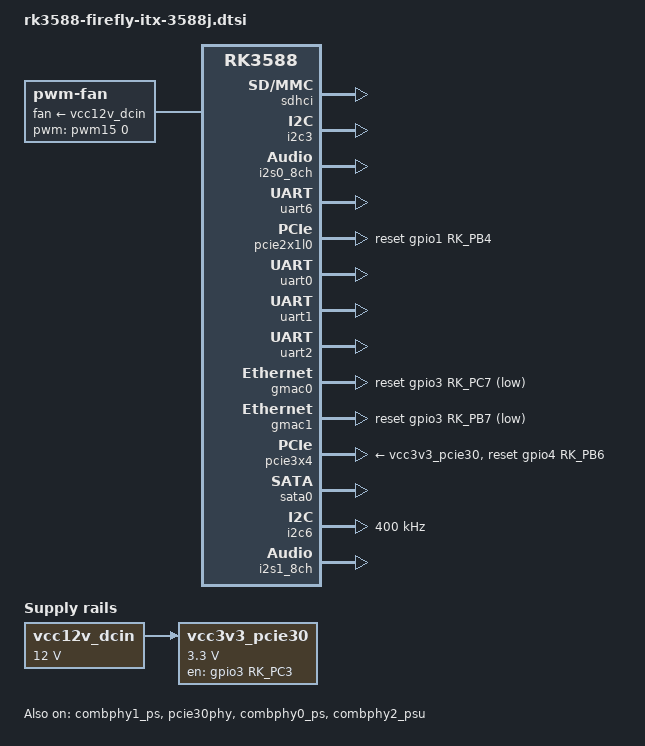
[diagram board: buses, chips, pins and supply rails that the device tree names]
// SPDX-License-Identifier: (GPL-2.0+ OR MIT)
/*
 * Copyright (c) 2021 Rockchip Electronics Co., Ltd.
 *
 */
 
#define rk3588
#include <dt-bindings/gpio/gpio.h>
#include <dt-bindings/input/input.h>
#include <dt-bindings/pinctrl/rockchip.h>
#include "rk3588.dtsi"

//include "rk3588-firefly-port.dtsi"
//include "rk3588-diff.dtsi"

 / {
	//ver v1.1 support
	fan: pwm-fan {
		compatible = "pwm-fan";
		#cooling-cells = <2>;
		fan-supply = <&vcc12v_dcin>;
		pwms = <&pwm15 0 50000 1>;
	};

	 vcc3v3_pcie30: vcc3v3-pcie30-regulator {
		 compatible = "regulator-fixed";
		 regulator-name = "vcc3v3_pcie30";
		 regulator-min-microvolt = <3300000>;
		 regulator-max-microvolt = <3300000>;
		 enable-active-high;
		 gpios = <&gpio3 RK_PC3 GPIO_ACTIVE_HIGH>;
		 startup-delay-us = <5000>;
		 vin-supply = <&vcc12v_dcin>;
		 pinctrl-names = "default";
		 pinctrl-0 = <&vcc3v3_pcie30_en>;
	 };

	 vcc12v_dcin: vcc12v-dcin-regulator {
		 compatible = "regulator-fixed";
		 regulator-name = "vcc12v_dcin";
		 regulator-always-on;
		 regulator-boot-on;
		 regulator-min-microvolt = <12000000>;
		 regulator-max-microvolt = <12000000>;
	 };

	 /*
	 dmc {
		 compatible = "rockchip,rk3588-dmc";
		 interrupts = <GIC_SPI 73 IRQ_TYPE_LEVEL_HIGH 0>;
		 interrupt-names = "complete";
		 devfreq-events = <&dfi>;
		 clocks = <&scmi_clk 4>;
		 clock-names = "dmc_clk";
		 operating-points-v2 = <&dmc_opp_table>;
		 upthreshold = <40>;
		 downdifferential = <20>;
		 system-status-level = <
									   // system status        freq level
									   SYS_STATUS_NORMAL       DMC_FREQ_LEVEL_MID_HIGH
									   SYS_STATUS_REBOOT       DMC_FREQ_LEVEL_HIGH
									   SYS_STATUS_SUSPEND      DMC_FREQ_LEVEL_LOW
									   SYS_STATUS_VIDEO_4K     DMC_FREQ_LEVEL_MID_HIGH
									   SYS_STATUS_VIDEO_4K_10B DMC_FREQ_LEVEL_MID_HIGH
									   SYS_STATUS_VIDEO_SVEP   DMC_FREQ_LEVEL_MID_HIGH
									   SYS_STATUS_BOOST        DMC_FREQ_LEVEL_HIGH
									   SYS_STATUS_ISP          DMC_FREQ_LEVEL_HIGH
									   SYS_STATUS_PERFORMANCE  DMC_FREQ_LEVEL_HIGH
									   SYS_STATUS_DUALVIEW     DMC_FREQ_LEVEL_HIGH
									   SYS_STATUS_HDMIRX       DMC_FREQ_LEVEL_HIGH
							   >;
		 auto-freq-en = <1>;
		 status = "okay";
	 };

	 dmc_opp_table: dmc-opp-table {
		 compatible = "operating-points-v2";

		 nvmem-cells = <&log_leakage>, <&dmc_opp_info>, <&specification_serial_number>;
		 nvmem-cell-names = "leakage", "opp-info", "specification_serial_number";
		 rockchip,supported-hw;

		 rockchip,leakage-voltage-sel = <
												1	31	0
												32	44	1
												45	57	2
												58	254	3
										>;
		 rockchip,temp-hysteresis = <5000>;
		 rockchip,low-temp = <10000>;
		 rockchip,low-temp-min-volt = <750000>;

		 // RK3588 dmc OPPs
		 opp-528000000 {
			 opp-supported-hw = <0xf9 0xffff>;
			 opp-hz = /bits/ 64 <528000000>;
			 opp-microvolt = <675000 675000 875000>,
							 <725000 725000 750000>;
			 opp-microvolt-L1 = <675000 675000 875000>,
								<700000 700000 750000>;
			 opp-microvolt-L2 = <675000 675000 875000>,
								<687500 687500 750000>;
			 opp-microvolt-L3 = <675000 675000 875000>,
								<675000 675000 750000>;
		 };
		 opp-1068000000 {
			 opp-supported-hw = <0xf9 0xffff>;
			 opp-hz = /bits/ 64 <1068000000>;
			 opp-microvolt = <725000 725000 875000>,
							 <737500 737500 750000>;
			 opp-microvolt-L1 = <700000 700000 875000>,
								<712500 712500 750000>;
			 opp-microvolt-L2 = <675000 675000 875000>,
								<700000 700000 750000>;
			 opp-microvolt-L3 = <675000 675000 875000>,
								<687500 687500 750000>;
		 };
		 opp-1560000000 {
			 opp-supported-hw = <0xf9 0xffff>;
			 opp-hz = /bits/ 64 <1560000000>;
			 opp-microvolt = <800000 800000 875000>,
							 <750000 750000 750000>;
			 opp-microvolt-L1 = <775000 775000 875000>,
								<725000 725000 750000>;
			 opp-microvolt-L2 = <750000 750000 875000>,
								<712500 712500 750000>;
			 opp-microvolt-L3 = <725000 725000 875000>,
								<700000 700000 750000>;
		 };
		 opp-2750000000 {
			 opp-supported-hw = <0xf9 0xffff>;
			 opp-hz = /bits/ 64 <2750000000>;
			 opp-microvolt = <875000 875000 875000>,
							 <750000 750000 750000>;
			 opp-microvolt-L1 = <850000 850000 875000>,
								<750000 750000 750000>;
			 opp-microvolt-L2 = <837500 837500 875000>,
								<725000 725000 750000>;
			 opp-microvolt-L3 = <825000 820000 875000>,
								<700000 700000 750000>;
		 };

		 //  RK3588J/M dmc OPPs 
		 opp-j-m-528000000 {
			 opp-supported-hw = <0x06 0xffff>;
			 opp-hz = /bits/ 64 <528000000>;
			 opp-microvolt = <750000 750000 875000>,
							 <750000 750000 750000>;
		 };
		 opp-j-m-1068000000 {
			 opp-supported-hw = <0x06 0xffff>;
			 opp-hz = /bits/ 64 <1068000000>;
			 opp-microvolt = <750000 750000 875000>,
							 <750000 750000 750000>;
		 };
		 opp-j-m-1560000000 {
			 opp-supported-hw = <0x06 0xffff>;
			 opp-hz = /bits/ 64 <1560000000>;
			 opp-microvolt = <800000 800000 875000>,
							 <750000 750000 750000>;
			 opp-microvolt-L1 = <775000 775000 875000>,
								<750000 750000 750000>;
			 opp-microvolt-L2 = <750000 750000 875000>,
								<750000 750000 750000>;
			 opp-microvolt-L3 = <750000 750000 875000>,
								<750000 750000 750000>;
		 };
		 opp-j-m-2750000000 {
			 opp-supported-hw = <0x06 0xffff>;
			 opp-hz = /bits/ 64 <2750000000>;
			 opp-microvolt = <875000 875000 875000>,
							 <750000 750000 750000>;
			 opp-microvolt-L1 = <850000 850000 875000>,
								<750000 750000 750000>;
			 opp-microvolt-L2 = <837500 837500 875000>,
								<750000 750000 750000>;
			 opp-microvolt-L3 = <825000 820000 875000>,
								<750000 750000 750000>;
		 };
	 };
	 */



 };

//&dmac0 {
//	status = "okay";
//};

//&otp {
//	dmc_opp_info: dmc-opp-info@5b {
//		reg = <0x5b 0x6>;
//	};
//};

//&gic {
//	status = "okay";
//};
//
//&pmu {
//	boot-phall;
//};

//&scmi_shmem {
//	boot-phall;
//};

//&scmi_clk {
//	assigned-clocks = <&scmi_clk SCMI_CLK_CPUL>,
//					  <&scmi_clk SCMI_CLK_CPUB01>,
//					  <&scmi_clk SCMI_CLK_CPUB23>;
//	assigned-clock-rates = <816000000>,
//						   <816000000>,
//						   <816000000>;
//};

//&adc_keys {
//	recovery-key {
//	        label = "F12";
//	        linux,code = <KEY_F12>;
//	        press-threshold-microvolt = <10000>;
//	};
//};

// Disallow DMA during SPL because DMA transfers into SRAM are impossible on RK3588
//&sfc {
//	bootph-pre-ram;
//	u-boot,spl-sfc-no-dma;
//	pinctrl-names = "default";
//	pinctrl-0 = <&fspim2_pins>;
//	status = "okay";
//
//	#address-cells = <1>;
//	#size-cells = <0>;
//
//	spi_nand: flash@0 {
//		bootph-pre-ram;
//		compatible = "spi-nand";
//		reg = <0>;
//		spi-tx-bus-width = <1>;
//		spi-rx-bus-width = <4>;
//		spi-max-frequency = <80000000>;
//	};
//
//};

//&gpio0 {
//	bootph-all;
//	status = "okay";
//};


// led
//&firefly_leds {
//	pinctrl-names = "default";
//	pinctrl-0 =<&leds_gpio>;
//};
//
//&power_led {
//	gpios = <&gpio1 RK_PB3 GPIO_ACTIVE_HIGH>;
//};
//
//&user_led {
//	gpios = <&pca9555 PCA_IO0_3 GPIO_ACTIVE_HIGH>;
//};

// FAN
//&vcc_fan_pwr_en {
//	status = "okay";
//	gpio = <&pca9555 PCA_IO1_3 GPIO_ACTIVE_HIGH>;  //PCA_IO 13
//};

//ver v1.1 support
//&pwm15 {
//	pinctrl-0 = <&pwm15m2_pins>;
//	status = "okay";
//};

// tf-card
&sdmmc {
	status = "disabled";
};

&sdhci {
	status = "okay";
	compatible = "rockchip,rk3588-dwcmshc", "rockchip,dwcmshc-sdhci";
	no-sd;
	no-sdio;
	clock-names;
	pinctrl-names;
	reset-names;
	/delete-node/ u-boot,spl-fifo-mode;
};

//&vcc_sdcard_pwr_en {
//	gpio = <&pca9555 PCA_IO1_5 GPIO_ACTIVE_HIGH>;  //PCA_IO 15
//	status = "okay";
//};
// can1
//&can1 {
//	status = "okay";
//	assigned-clocks = <&cru CLK_CAN1>;
//	assigned-clock-rates = <200000000>;
//	pinctrl-names = "default";
//	pinctrl-0 = <&can1m1_pins>;
//};

// es8323 audio codec
&i2c3 {
	status = "okay";
};
//&es8388_sound {
//	firefly,not-use-dapm;
//	status = "okay";
//};
//&es8388 {
//	status = "okay";
//};
&i2s0_8ch {
	status = "okay";
};

// hdmi rx
//&hdmiin_sound {
//	status = "okay";
//};

//&hdmirx_ctrler {
//	status = "okay";
//	hpd-trigger-level = <1>;
//	hdmirx-det-gpios = <&gpio1 RK_PD5 GPIO_ACTIVE_LOW>;
//};

// hdmi0
//&hdmi0 {
//	enable-gpios = <&gpio4 RK_PA0 GPIO_ACTIVE_HIGH>;
//	status = "okay";
//};

//&hdmi0_in_vp0 {
//	status = "okay";
//};

//&hdmi0_sound {
//	status = "okay";
//};

//&hdptxphy_hdmi0 {
//	status = "okay";
//};

//&route_hdmi0 {
//	status = "okay";
//};

// hdmi1
//&hdmi1 {
//	enable-gpios = <&gpio4 RK_PB2 GPIO_ACTIVE_HIGH>;
//	status = "okay";
//};

//&hdmi1_sound {
//	status = "okay";
//};

//&hdmi1_in_vp1 {
//        status = "okay";
//};

//&hdptxphy_hdmi1 {
//	status = "okay";
//};

//&route_hdmi1 {
//	status = "okay";
//	connect = <&vp1_out_hdmi1>;
//};

// display port0
//&spdif_tx2 {
//	status = "okay";
//};

//&dp0_sound {
//	status = "okay";
//};

//&dp0 {
//	status = "okay";
//};

//&dp0_in_vp2 {
//	status = "okay";
//};

// display port1 to vga
//&dp1_in_vp2 {
//	status = "okay";
//};
//
//&dp1 {
//	pinctrl-names = "default";
//	pinctrl-0 = <&dp1_hpd>;
//	hpd-gpios = <&gpio1 RK_PA4 GPIO_ACTIVE_HIGH>;
//	status = "okay";
//};
//&route_dp1 {
//	status = "disabled";
//	connect = <&vp2_out_dp1>;
//};

// ap6275 : bluetooth
//&wireless_bluetooth {
//	status = "okay";
//};
&uart6 {
	pinctrl-names = "default";
	pinctrl-0 = <&uart6m1_xfer &uart6m1_ctsn>;
	status = "okay";
};

// ap6275 : wifi
//&wireless_wlan {
//	wifi_chip_type = "ap6275p";
//	pinctrl-0 = <&wifi_poweren_gpio>;
//	/delete-property/ WIFI,host_wake_irq;
//	status = "okay";
//};
&combphy1_ps {
	status = "okay";
};

&pcie2x1l0 {
	reset-gpios = <&gpio1 RK_PB4 GPIO_ACTIVE_HIGH>;
	rockchip,skip-scan-in-resume;
	status = "okay";
};

// uart/232/485
&uart0 {
	pinctrl-0 = <&uart0m2_xfer>;
	status = "okay";
};

&uart1 {
	pinctrl-0 = <&uart1m1_xfer>;
	status = "okay";
};

&uart2 {
	pinctrl-0 = <&uart2m0_xfer>;
	status = "okay";
};

// gamc0
&gmac0 {
	snps,reset-gpio = <&gpio3 RK_PC7 GPIO_ACTIVE_LOW>;
	tx_delay = <0x45>;
	status = "okay";
};
&gmac0_tx_bus2 {
    rockchip,pins =
    // gmac0_txd0
    <2 RK_PB6 1 &pcfg_pull_up_drv_level_6>,
    // gmac0_txd1
    <2 RK_PB7 1 &pcfg_pull_up_drv_level_6>,
    // gmac0_txen
    <2 RK_PC0 1 &pcfg_pull_none>;
};
&gmac0_rgmii_bus {
	rockchip,pins =
	// gmac0_rxd2
	<2 RK_PA6 1 &pcfg_pull_none>,
	// gmac0_rxd3
	<2 RK_PA7 1 &pcfg_pull_none>,
	// gmac0_txd2
	<2 RK_PB1 1 &pcfg_pull_up_drv_level_6>,
	// gmac0_txd3
	<2 RK_PB2 1 &pcfg_pull_up_drv_level_6>;
};
// gmac1
&gmac1 {
	snps,reset-gpio = <&gpio3 RK_PB7 GPIO_ACTIVE_LOW>;
	tx_delay = <0x42>;
	status = "okay";
};
&gmac1_tx_bus2 {
	rockchip,pins =
	// gmac1_txd0
	<3 RK_PB3 1 &pcfg_pull_up_drv_level_6>,
    // gmac1_txd1
	<3 RK_PB4 1 &pcfg_pull_up_drv_level_6>,
	// gmac1_txen
	<3 RK_PB5 1 &pcfg_pull_none>;
};
&gmac1_rgmii_bus {
	rockchip,pins =
	// gmac1_rxd2
	<3 RK_PA2 1 &pcfg_pull_none>,
	// gmac1_rxd3
	<3 RK_PA3 1 &pcfg_pull_none>,
	// gmac1_txd2
	<3 RK_PA0 1 &pcfg_pull_up_drv_level_6>,
	// gmac1_txd3
	<3 RK_PA1 1 &pcfg_pull_up_drv_level_6>;
};
// pcie3.0 x 4 slot
&pcie30phy {
	status = "okay";
};

&pcie3x4 {
	reset-gpios = <&gpio4 RK_PB6 GPIO_ACTIVE_HIGH>;
	vpcie3v3-supply = <&vcc3v3_pcie30>;
	status = "okay";
};
//&vcc3v3_pcie30 {
//	gpios = <&gpio2 RK_PC5 GPIO_ACTIVE_HIGH>;
//	startup-delay-us = <5000>;
//	status = "okay";
//};

// sata pm
&combphy0_ps {
	status = "okay";
};
&sata0 {
	status = "okay";
};
//&vcc_sata_pwr_en {
//	status = "okay";
//	gpio = <&pca9555 PCA_IO1_2 GPIO_ACTIVE_HIGH>;  //PCA_IO 12
//};

// usb power
//&vcc5v0_host {
//	gpio = <&pca9555 PCA_IO0_5 GPIO_ACTIVE_HIGH>;
//	vin-supply = <&vcc5v0_usb>;
//	status = "okay";
//};
//&vcc_hub_reset {
//	status = "okay";
//	gpio = <&pca9555 PCA_IO0_4 GPIO_ACTIVE_HIGH>;  //PCA_IO 04
//};
//&vcc_hub3_reset {
//	status = "okay";
//	gpio = <&pca9555 PCA_IO0_6 GPIO_ACTIVE_HIGH>;  //PCA_IO 06
//};
//&vcc5v0_host3 {
//	gpio = <&pca9555 PCA_IO0_7 GPIO_ACTIVE_HIGH>;  //PCA_IO 07
//	status = "okay";
//};

// i2c6
&i2c6 {
	clock-frequency = <400000>; // For others Display Port Screen
	status = "okay";
};

// pca9555
//&pca9555 {
//	status = "okay";
//};

// rtc
//&hym8563 {
//	interrupt-parent = <&gpio0>;
//	interrupts = <RK_PB0 IRQ_TYPE_LEVEL_LOW>;
//	status = "okay";
//};

//&usbc0 {
//	status = "okay";
//	interrupt-parent = <&gpio0>;
//	interrupts = <RK_PD3 IRQ_TYPE_LEVEL_LOW>;
//};

//&vbus5v0_typec_pwr_en {
//	status = "okay";
//	gpio = <&pca9555 PCA_IO1_4 GPIO_ACTIVE_HIGH>;  //PCA_IO 14
//};

// pinctrl
&pinctrl {
	dp {
		dp1_hpd: dp1-hpd {
			 rockchip,pins = <1 RK_PA4 RK_FUNC_GPIO &pcfg_pull_none>;
		};
	};

	leds {
		leds_gpio: leds-gpio {
			// led_power
			rockchip,pins = <1 11 RK_FUNC_GPIO &pcfg_pull_none>;
		};
 	};

	hdmirx {
		hdmirx_det: hdmirx-det {
			rockchip,pins = <1 RK_PD5 RK_FUNC_GPIO &pcfg_pull_up>;
		};
	};

	headphone {
		hp_det: hp-det {
			rockchip,pins = <1 RK_PC4 RK_FUNC_GPIO &pcfg_pull_none>;
		};
	};

	hym8563 {
		hym8563_int: hym8563-int {
			rockchip,pins = <0 RK_PB0 RK_FUNC_GPIO &pcfg_pull_up>;
		};
	};

	lcd {
		lcd_rst_gpio: lcd-rst-gpio {
			rockchip,pins = <2 RK_PB4 RK_FUNC_GPIO &pcfg_pull_none>;
		};
	};

	touch {
		touch_gpio: touch-gpio {
			rockchip,pins =
				<0 RK_PD5 RK_FUNC_GPIO &pcfg_pull_up>,
				<0 RK_PC6 RK_FUNC_GPIO &pcfg_pull_none>;
		};
	};

	usb-typec { 
		usbc0_int: usbc0-int { 
			rockchip,pins = <0 RK_PD3 RK_FUNC_GPIO &pcfg_pull_up>; 
		}; 
	};

	wireless-bluetooth {
		uart6_gpios: uart6-gpios {
			rockchip,pins = <1 RK_PA2 RK_FUNC_GPIO &pcfg_pull_none>;
		};

		bt_reset_gpio: bt-reset-gpio {
			rockchip,pins = <0 RK_PC6 RK_FUNC_GPIO &pcfg_pull_none>;
		};

		bt_wake_gpio: bt-wake-gpio {
			rockchip,pins = <0 RK_PC5 RK_FUNC_GPIO &pcfg_pull_none>;
		};

		bt_irq_gpio: bt-irq-gpio {
			rockchip,pins = <0 RK_PA0 RK_FUNC_GPIO &pcfg_pull_down>;
		};
	};

	wireless-wlan {
		wifi_host_wake_irq: wifi-host-wake-irq {
			rockchip,pins = <0 RK_PB2 RK_FUNC_GPIO &pcfg_pull_down>;
		};

		wifi_poweren_gpio: wifi-poweren-gpio {
			rockchip,pins = <0 RK_PC4 RK_FUNC_GPIO &pcfg_pull_up>;
		};
	};

	pcie3 {
		pcie3_reset: pcie3-reset {
			rockchip,pins = <4 RK_PB6 RK_FUNC_GPIO &pcfg_pull_none>;
		};

		vcc3v3_pcie30_en: vcc3v3-pcie30-en {
			rockchip,pins = <3 RK_PC3 RK_FUNC_GPIO &pcfg_pull_none>;
		};
	};

};

// Bluetooth
//&bt_sco {
//	status = "okay";
//};
//
//&bt_sound {
//	status = "okay";
//};

// for fan when deep sleep
//&vdd_log_s0 {
//       regulator-state-mem {
//               regulator-on-in-suspend;
//               regulator-suspend-microvolt = <750000>;
//       };
//};
//&avcc_1v8_s0 {
//       regulator-state-mem {
//               regulator-on-in-suspend;
//       };
//};
//&vcc_1v8_s0 {
//       regulator-state-mem {
//               regulator-on-in-suspend;
//               regulator-suspend-microvolt = <1800000>;
//       };
//};

//usb3.1 host2 controller for 5G module
//&usbhost3_0 {
//    status = "okay";
//};
//&usbhost_dwc3_0 {
//    dr_mode = "host";
//    status = "okay";
//};
&combphy2_psu {
    status = "okay"; // USB3.1/SATA/PCIe Combo PHY
};

&i2s1_8ch {
	status = "okay";
	pinctrl-0 = <&i2s1m0_lrck &i2s1m0_sclk &i2s1m0_sdi0 &i2s1m0_sdo0>;
	rockchip,bclk-fs = <32>;
};

